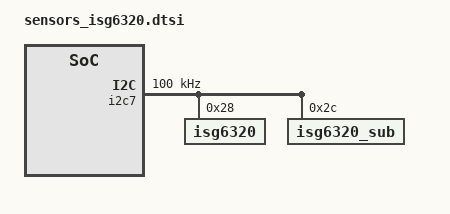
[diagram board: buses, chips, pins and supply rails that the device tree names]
&pio {
	grip_i2c_sda: grip-i2c-sda {
		GPIO_CONFIG_PUD_DRV(AP,pio,135, FUNC_INPUT, PULL_NONE, DRV_LV2);
	};
	grip_i2c_scl: grip-i2c-scl {
		GPIO_CONFIG_PUD_DRV(AP,pio,134, FUNC_INPUT, PULL_NONE, DRV_LV2);
	};
};

&pio {
	grip_int: grip-int {
		GPIO_CONFIG_PUD_DRV(AP,pio,17, FUNC_INPUT_WAKEUP, PULL_NONE, DRV_LV2);
	};
};

#if 1
&pio {
	grip_ldo_en: grip-ldo-en {
		GPIO_CONFIG_PUD(AP,pio,110, FUNC_OUTPUT_HIGH, PULL_NONE);
	};
};
#endif

&i2c7 {
	pinctrl-names = "default";
	pinctrl-0 = <&grip_i2c_sda
				 &grip_i2c_scl
#if 1
				 &grip_ldo_en
#endif
				 >;
	status = "okay";
	clock-frequency = <100000>;

	isg6320: isg6320@28 {
		compatible = "isg6320";
		reg = <0x28>;
		status = "okay";
		pinctrl-names = "default";
		pinctrl-0 = <&grip_int>;

		interrupt-parent = <SEC_GPIO_TYPE(AP,pio,17)>;
		interrupts = <SEC_GPIO_NUM(AP,pio,17) 0>;

		isg6320,irq-gpio = <SEC_GPIO_REF(AP,pio,17) 0>;

		isg6320,reg_num = <150>;
		isg6320,multi_use = <0>;
		isg6320,hallic_detect = <0>;
		isg6320,hallic_cert_detect = <0>;
#if 0
		isg6320,unknown_ch_selection = <${isg6320_unknown_ch_sel}>;
#endif
	};
};

#if 1

&pio {
	grip_sub_i2c_sda: grip-sub-i2c-sda {
		GPIO_CONFIG_PUD_DRV(AP,pio,135, FUNC_INPUT, PULL_NONE, DRV_LV2);
	};
	grip_sub_i2c_scl: grip-sub-i2c-scl {
		GPIO_CONFIG_PUD_DRV(AP,pio,134, FUNC_INPUT, PULL_NONE, DRV_LV2);
	};
};

&pio {
	grip_sub_int: grip-sub-int {
		GPIO_CONFIG_PUD_DRV(AP,pio,0, FUNC_INPUT_WAKEUP, PULL_NONE, DRV_LV2);
	};
};

#if 0
&${gpio_grip_sub_en_parent} {
	grip_sub_ldo_en: grip-sub-ldo-en {
		GPIO_CONFIG_PUD(${gpio_grip_sub_en}, FUNC_OUTPUT_HIGH, PULL_NONE);
	};
};
#endif

&i2c7 {
	pinctrl-names = "default";
	pinctrl-0 = <&grip_sub_i2c_sda
				 &grip_sub_i2c_scl
#if 0
				 &grip_sub_ldo_en
#endif
				 >;
	status = "okay";
	#clock-frequency = <100000>;
	isg6320_sub: isg6320-sub@2C {
		compatible = "isg6320_sub";
		reg = <0x2C>;
		status = "okay";
		pinctrl-names = "default";
		pinctrl-0 = <&grip_sub_int>;

		interrupt-parent = <SEC_GPIO_TYPE(AP,pio,0)>;
		interrupts = <SEC_GPIO_NUM(AP,pio,0) 0>;

		isg6320_sub,irq-gpio = <SEC_GPIO_REF(AP,pio,0) 0>;

		isg6320_sub,reg_num = <150>;
		isg6320_sub,multi_use = <0>;
		isg6320_sub,hallic_detect = <0>;
		isg6320_sub,hallic_cert_detect = <0>;
#if 0
		isg6320_sub,unknown_ch_selection = <${isg6320_sub_unknown_ch_sel}>;
#endif
	};
};

#endif/* isg6320_sub */

#if 0

&${gpio_grip_sub2_i2c_parent} {
	grip_sub2_i2c_sda: grip-sub2-i2c-sda {
		GPIO_CONFIG_PUD_DRV(${gpio_grip_sub2_i2c_sda}, FUNC_INPUT, PULL_NONE, DRV_LV2);
	};
	grip_sub2_i2c_scl: grip-sub2-i2c-scl {
		GPIO_CONFIG_PUD_DRV(${gpio_grip_sub2_i2c_scl}, FUNC_INPUT, PULL_NONE, DRV_LV2);
	};
};

&${gpio_grip_sub2_irq_parent} {
	grip_sub2_int: grip-sub2-int {
		GPIO_CONFIG_PUD_DRV(${gpio_grip_sub2_irq}, FUNC_INPUT_WAKEUP, PULL_NONE, DRV_LV2);
	};
};

#if 0
&${gpio_grip_sub2_en_parent} {
	grip_sub2_ldo_en: grip-sub2-ldo-en {
		GPIO_CONFIG_PUD(${gpio_grip_sub2_en}, FUNC_OUTPUT_HIGH, PULL_NONE);
	};
};
#endif

&${i2c_grip_sub2} {
	pinctrl-names = "default";
	pinctrl-0 = <&grip_sub2_i2c_sda
				 &grip_sub2_i2c_scl
#if 0
				 &grip_sub2_ldo_en
#endif
				 >;
	status = "okay";
	#clock-frequency = <100000>;
	isg6320_sub2: isg6320-sub2@${isg6320_sub2_i2c_address} {
		compatible = "isg6320_sub2";
		reg = <0x${isg6320_sub2_i2c_address}>;
		status = "okay";
		pinctrl-names = "default";
		pinctrl-0 = <&grip_sub2_int>;

		interrupt-parent = <SEC_GPIO_TYPE(${gpio_grip_sub2_irq})>;
		interrupts = <SEC_GPIO_NUM(${gpio_grip_sub2_irq}) 0>;

		isg6320_sub2,irq-gpio = <SEC_GPIO_REF(${gpio_grip_sub2_irq}) 0>;

		isg6320_sub2,reg_num = <150>;
		isg6320_sub2,multi_use = <${sub2_multi_use}>;
		isg6320_sub2,hallic_detect = <0>;
		isg6320_sub2,hallic_cert_detect = <0>;
#if 0
		isg6320_sub2,unknown_ch_selection = <${isg6320_sub2_unknown_ch_sel}>;
#endif
	};
};

#endif/* isg6320_sub2 */

#if 0

&${gpio_grip_wifi_i2c_parent} {
	grip_wifi_i2c_sda: grip-wifi-i2c-sda {
		GPIO_CONFIG_PUD_DRV(${gpio_grip_wifi_i2c_sda}, FUNC_INPUT, PULL_NONE, DRV_LV2);
	};
	grip_wifi_i2c_scl: grip-wifi-i2c-scl {
		GPIO_CONFIG_PUD_DRV(${gpio_grip_wifi_i2c_scl}, FUNC_INPUT, PULL_NONE, DRV_LV2);
	};
};

&${gpio_grip_wifi_irq_parent} {
	grip_wifi_int: grip-wifi-int {
		GPIO_CONFIG_PUD_DRV(${gpio_grip_wifi_irq}, FUNC_INPUT_WAKEUP, PULL_NONE, DRV_LV2);
	};
};

#if 0
&${gpio_grip_wifi_en_parent} {
	grip_wifi_ldo_en: grip-wifi-ldo-en {
		GPIO_CONFIG_PUD(${gpio_grip_wifi_en}, FUNC_OUTPUT_HIGH, PULL_NONE);
	};
};
#endif

&${i2c_grip_wifi} {
	pinctrl-names = "default";
	pinctrl-0 = <&grip_wifi_i2c_sda
				 &grip_wifi_i2c_scl
#if 0
				 &grip_wifi_ldo_en
#endif
				 >;
	status = "okay";
	#clock-frequency = <100000>;

	isg6320_wifi: isg6320-wifi@28 {
		compatible = "isg6320_wifi";
		reg = <0x28>;
		status = "okay";
		pinctrl-names = "default";
		pinctrl-0 = <&grip_wifi_int>;

		interrupt-parent = <SEC_GPIO_TYPE(${gpio_grip_wifi_irq})>;
		interrupts = <SEC_GPIO_NUM(${gpio_grip_wifi_irq}) 0>;

		isg6320_wifi,irq-gpio = <SEC_GPIO_REF(${gpio_grip_wifi_irq}) 0>;

		isg6320_wifi,reg_num = <150>;
		isg6320_wifi,multi_use = <0>;
		isg6320_wifi,hallic_detect = <0>;
		isg6320_wifi,hallic_cert_detect = <0>;
#if 0
		isg6320_wifi,unknown_ch_selection = <${isg6320_wifi_unknown_ch_sel}>;
#endif
	};
};

#endif/* isg6320_wifi */

/* /home/dpi/qb5_8814/workspace/P4_1716/android/kernel/kmodule/sensors/isg6320/dts/isg6320.m53x.dtsi */
&grip_i2c_sda {
	pins_cmd_dat {
		pinmux = <0x8701>;
		bias-pull-up;
		input-enable;
		drive-strength = <0x4>;
	};
};

&grip_i2c_scl {
	pins_cmd_dat {
		pinmux = <0x8601>;
		bias-pull-up;
		input-enable;
		drive-strength = <0x4>;
	};
};

&grip_sub_i2c_sda {
	pins_cmd_dat {
		pinmux = <0x8701>;
		bias-pull-up;
		input-enable;
		drive-strength = <0x4>;
	};
};

&grip_sub_i2c_scl {
	pins_cmd_dat {
		pinmux = <0x8601>;
		bias-pull-up;
		input-enable;
		drive-strength = <0x4>;
	};
};

&isg6320 {
	isg6320,reg_num = <106>;
	isg6320,set_reg = /bits/ 8 <
				0x17 0x33
				0x4B 0x4A
				0x31 0x00
				0x18 0x2E
				0x19 0x00
				0x1A 0x1A
				0x1B 0x00
				0x1C 0x00
				0x1D 0x2C
				0x1E 0x18
				0x1F 0x00
				0x20 0x00
				0x21 0x00
				0x22 0x00
				0x23 0x2C
				0x24 0x05
				0x25 0x1F
				0x26 0x2C
				0x27 0x05
				0x28 0x12
				0x2B 0x27
				0x38 0x31
				0x60 0x15
				0x61 0x90
				0x62 0x00
				0x91 0x00
				0x65 0x22
				0x67 0x58
				0x68 0x34
				0x69 0x3E
				0x6A 0x80
				0x6C 0x80
				0x6D 0x84
				0x6E 0x44
				0x6F 0x08
				0x70 0x60
				0x71 0x80
				0x72 0x40
				0x73 0x00
				0x74 0xED
				0x75 0x40
				0x76 0xED
				0x77 0x80
				0x78 0xA0
				0x79 0xA0
				0x7C 0x15
				0x7D 0x1A
				0x89 0x01
				0x8A 0x69
				0x8B 0x7D
				0x8C 0x7D
				0x94 0x15
				0x95 0x90
				0x96 0x00
				0xC5 0x00
				0x99 0x22
				0x9B 0x58
				0x9C 0x34
				0x9D 0x3E
				0x9E 0x80
				0xA0 0x80
				0xA1 0x84
				0xA2 0x44
				0xA3 0x08
				0xA4 0x60
				0xA5 0x80
				0xA6 0x40
				0xA7 0x00
				0xA8 0xED
				0xA9 0x40
				0xAA 0xED
				0xAB 0x80
				0xAC 0xA0
				0xAD 0xA0
				0xB0 0x15
				0xB1 0x1A
				0xBD 0x01
				0xBE 0x69
				0xBF 0x7D
				0xC0 0x7D
				0x51 0x06
				0x52 0x10
				0x55 0x20
				0x56 0x30
				0x59 0x20
				0x5A 0x14
				0xD1 0x06
				0xD2 0x10
				0xD5 0x20
				0xD6 0x30
				0xD9 0x20
				0xDA 0x14
				0x37 0x33
				0x90 0x13
				0xC4 0x13
				0x05 0xB8
				0x06 0x80
				0x07 0x0D
				0x08 0x01
				0x09 0x80
				0x11 0x06
				0x12 0x08
				0x13 0x14
				0x14 0x33
				0x2D 0x20
				0x2C 0x03
				>;
};

&isg6320_sub {
	isg6320_sub,reg_num = <106>;
	isg6320_sub,set_reg = /bits/ 8 <
				0x17 0x45
				0x4B 0x4A
				0x31 0x00
				0x18 0x45
				0x19 0x00
				0x1A 0x23
				0x1B 0x00
				0x1C 0x00
				0x1D 0x3E
				0x1E 0x21
				0x1F 0x00
				0x20 0x00
				0x21 0x00
				0x22 0x00
				0x23 0x3E
				0x24 0x0A
				0x25 0x2D
				0x26 0x3E
				0x27 0x0A
				0x28 0x1B
				0x2B 0x2C
				0x38 0x31
				0x60 0x15
				0x61 0x85
				0x62 0x00
				0x91 0x00
				0x65 0x22
				0x67 0x58
				0x68 0x34
				0x69 0x3E
				0x6A 0x80
				0x6C 0x80
				0x6D 0x84
				0x6E 0x44
				0x6F 0x08
				0x70 0x60
				0x71 0x80
				0x72 0x40
				0x73 0x00
				0x74 0xED
				0x75 0x40
				0x76 0xED
				0x77 0x80
				0x78 0xA0
				0x79 0xA0
				0x7C 0x15
				0x7D 0x1A
				0x89 0x01
				0x8A 0x69
				0x8B 0x7D
				0x8C 0x7D
				0x94 0x15
				0x95 0x85
				0x96 0x00
				0xC5 0x00
				0x99 0x22
				0x9B 0x58
				0x9C 0x34
				0x9D 0x3E
				0x9E 0x80
				0xA0 0x80
				0xA1 0x84
				0xA2 0x44
				0xA3 0x08
				0xA4 0x60
				0xA5 0x80
				0xA6 0x40
				0xA7 0x00
				0xA8 0xED
				0xA9 0x40
				0xAA 0xED
				0xAB 0x80
				0xAC 0xA0
				0xAD 0xA0
				0xB0 0x15
				0xB1 0x1A
				0xBD 0x01
				0xBE 0x69
				0xBF 0x7D
				0xC0 0x7D
				0x51 0x06
				0x52 0x10
				0x55 0x20
				0x56 0x30
				0x59 0x20
				0x5A 0x14
				0xD1 0x06
				0xD2 0x10
				0xD5 0x20
				0xD6 0x30
				0xD9 0x20
				0xDA 0x14
				0x37 0x33
				0x90 0x13
				0xC4 0x13
				0x05 0xB8
				0x06 0x80
				0x07 0x0D
				0x08 0x01
				0x09 0x80
				0x11 0x06
				0x12 0x08
				0x13 0x14
				0x14 0x33
				0x2D 0x20
				0x2C 0x03
				>;
};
